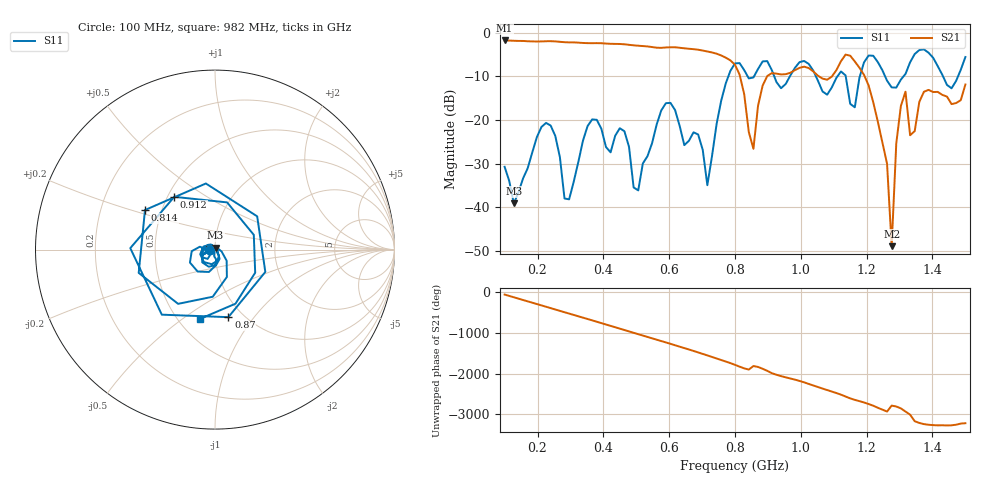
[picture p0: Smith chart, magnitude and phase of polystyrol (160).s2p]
! NanoVNA-App
! Date: 2025-09-25 15:31:08
! Start: 100MHz Stop: 1,5GHz Points: 101
! S-Parameter data: F S11 S21 S12 S22
# Hz S RI R 50
!  Frequency  S11_Real  S11_Imag  S21_Real  S21_Imag  S12_Real  S12_Imag  S22_Real  S22_Imag
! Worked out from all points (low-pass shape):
!   101 points, 100 MHz to 1.5 GHz, reference 50 ohm
!   highest |S21| = -1.80 dB at 100 MHz (marker M1); lowest = -48.8 dB at 1.276 GHz (marker M2)
!   |S21| within 3 dB of the highest: start of sweep to 743 MHz
!   lowest |S11| = -39.1 dB at 128 MHz (marker M3), VSWR 1.02, Z = 50.3 + j1.06 ohm
!   |S11| at or under -10 dB: start of sweep to 779.8 MHz; 1.046 GHz to 1.111 GHz (65.55 MHz wide, 6.08 % of centre); 1.256 GHz to 1.312 GHz (56.09 MHz wide, 4.37 % of centre) (the widest 3 of 7)
!   S12 and S22 are empty: the file has one direction only
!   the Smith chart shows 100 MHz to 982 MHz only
!   S11 on the Smith chart (normalised r, x): 100 MHz: 0.94, -0.01; 814 MHz: 0.40, +0.22; 870 MHz: 0.85, -0.75; 912 MHz: 0.54, +0.37; 982 MHz: 0.64, -0.58
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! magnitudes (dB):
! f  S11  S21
! 100 MHz  -30.7  -1.8
! 128 MHz  -39.1  -1.9
! 212 MHz  -21.6  -2.0
! 282 MHz  -37.9  -2.2
! 338 MHz  -24.7  -2.4
! 464 MHz  -22.6  -2.7
! 506 MHz  -36.1  -3.0
! 576 MHz  -17.8  -3.5
! 716 MHz  -34.9  -4.3
! 800 MHz  -7.0  -7.4
! 814 MHz  -7.0  -9.6
! 856 MHz  -10.3  -26.6
! 870 MHz  -8.3  -16.7
! 912 MHz  -8.6  -9.3
! 982 MHz  -8.1  -8.6
! 1.038 GHz  -8.7  -8.9
! 1.192 GHz  -6.8  -9.7
! 1.262 GHz  -11.0  -30.0
! 1.276 GHz  -12.5  -48.8
! 1.29 GHz  -12.6  -25.3
! 1.318 GHz  -9.5  -13.5
! 1.5 GHz  -5.6  -11.9
